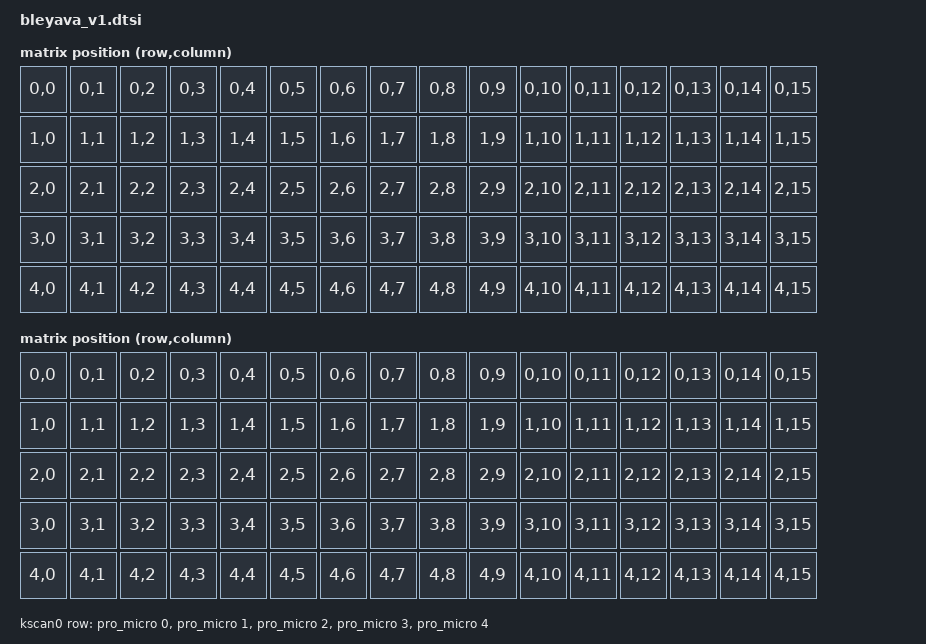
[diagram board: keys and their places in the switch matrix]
/*
 * Copyright (c) 2022 Alexander Jirges
 *
 * SPDX-License-Identifier: MIT
 */

#include <dt-bindings/zmk/matrix-transform.h>

/ {
	chosen {
		zmk,kscan = &kscan0;
		zmk,matrix_transform = &default_transform;
	};

	default_transform: keymap_transform_0 {
		compatible = "zmk,matrix-transform";
		columns = <16>;
		rows = <5>;
// | SW1  | SW2  | SW3  | SW4  | SW5  | SW6  | SW7  | SW33 |   | SW37 | SW41 | SW42 | SW43 | SW44 | SW45 | SW46 | SW47 | SW48 | 
// | SW8  | S98  | SW10 | SW11 | SW12 | SW13 | SW14 | SW34 |   | SW38 | SW49 | SW50 | SW51 | SW52 | SW53 | SW54 | SW55 | SW56 |
// | SW15 | SW16 | SW17 | SW18 | SW19 | SW20 | SW21 | SW35 |   | SW39 | SW57 | SW58 | SW59 | SW60 | SW61 | SW62 | SW63 | SW64 |   
// | SW22 | SW23 | SW24 | SW25 | SW26 | SW27 |      | SW36 |   | SW40 |      | SW65 | SW66 | SW67 | SW68 | SW69 | SW70 | SW71 |
// | SW28 | SW29 | SW30 | SW31 | SW32 |      |      |      |   |      |      |      | SW72 | SW73 | SW74 | SW75 | SW76 | SW77 |
// 5 + 8 = 13 pins used

		map = <
RC(0,0) RC(0,1) RC(0,2) RC(0,3) RC(0,4) RC(0,5) RC(0,6) RC(0,7) RC(0,8) RC(0,9) RC(0,10) RC(0,11) RC(0,12) RC(0,13) RC(0,14) RC(0,15)
RC(1,0) RC(1,1) RC(1,2) RC(1,3) RC(1,4) RC(1,5) RC(1,6) RC(1,7) RC(1,8) RC(1,9) RC(1,10) RC(1,11) RC(1,12) RC(1,13) RC(1,14) RC(1,15)
RC(2,0) RC(2,1) RC(2,2) RC(2,3) RC(2,4) RC(2,5) RC(2,6) RC(2,7) RC(2,8) RC(2,9) RC(2,10) RC(2,11) RC(2,12) RC(2,13) RC(2,14) RC(2,15)
RC(3,0) RC(3,1) RC(3,2) RC(3,3) RC(3,4) RC(3,5) RC(3,6) RC(3,7) RC(3,8) RC(3,9) RC(3,10) RC(3,11) RC(3,12) RC(3,13) RC(3,14) RC(3,15)
RC(4,0) RC(4,1) RC(4,2) RC(4,3) RC(4,4) RC(4,5) RC(4,6) RC(4,7) RC(4,8) RC(4,9) RC(4,10) RC(4,11) RC(4,12) RC(4,13) RC(4,14) RC(4,15)
		>;
	};

	eight_column_transform: keymap_transform_1 {
		compatible = "zmk,matrix-transform";
		columns = <10>;
		rows = <4>;
/ | SW1  | SW2  | SW3  | SW4  | SW5  | SW6  | SW7  | SW33 |   | SW37 | SW41 | SW42 | SW43 | SW44 | SW45 | SW46 | SW47 | SW48 | 
// | SW8  | S98  | SW10 | SW11 | SW12 | SW13 | SW14 | SW34 |   | SW38 | SW49 | SW50 | SW51 | SW52 | SW53 | SW54 | SW55 | SW56 |
// | SW15 | SW16 | SW17 | SW18 | SW19 | SW20 | SW21 | SW35 |   | SW39 | SW57 | SW58 | SW59 | SW60 | SW61 | SW62 | SW63 | SW64 |   
// | SW22 | SW23 | SW24 | SW25 | SW26 | SW27 |      | SW36 |   | SW40 |      | SW65 | SW66 | SW67 | SW68 | SW69 | SW70 | SW71 |
// | SW28 | SW29 | SW30 | SW31 | SW32 |      |      |      |   |      |      |      | SW72 | SW73 | SW74 | SW75 | SW76 | SW77 |
// 5 + 8 = 13 pins used

		map = <
RC(0,0) RC(0,1) RC(0,2) RC(0,3) RC(0,4) RC(0,5) RC(0,6) RC(0,7) RC(0,8) RC(0,9) RC(0,10) RC(0,11) RC(0,12) RC(0,13) RC(0,14) RC(0,15)
RC(1,0) RC(1,1) RC(1,2) RC(1,3) RC(1,4) RC(1,5) RC(1,6) RC(1,7) RC(1,8) RC(1,9) RC(1,10) RC(1,11) RC(1,12) RC(1,13) RC(1,14) RC(1,15)
RC(2,0) RC(2,1) RC(2,2) RC(2,3) RC(2,4) RC(2,5) RC(2,6) RC(2,7) RC(2,8) RC(2,9) RC(2,10) RC(2,11) RC(2,12) RC(2,13) RC(2,14) RC(2,15)
RC(3,0) RC(3,1) RC(3,2) RC(3,3) RC(3,4) RC(3,5) RC(3,6) RC(3,7) RC(3,8) RC(3,9) RC(3,10) RC(3,11) RC(3,12) RC(3,13) RC(3,14) RC(3,15)
RC(4,0) RC(4,1) RC(4,2) RC(4,3) RC(4,4) RC(4,5) RC(4,6) RC(4,7) RC(4,8) RC(4,9) RC(4,10) RC(4,11) RC(4,12) RC(4,13) RC(4,14) RC(4,15)
		>;
	};

	kscan0: kscan {
		compatible = "zmk,kscan-gpio-matrix";
		label = "KSCAN";

		diode-direction = "col2row";
		row-gpios
			= <&pro_micro 0 (GPIO_ACTIVE_HIGH | GPIO_PULL_DOWN)>
			, <&pro_micro 1 (GPIO_ACTIVE_HIGH | GPIO_PULL_DOWN)>
			, <&pro_micro 2 (GPIO_ACTIVE_HIGH | GPIO_PULL_DOWN)>
			, <&pro_micro 3 (GPIO_ACTIVE_HIGH | GPIO_PULL_DOWN)>
			, <&pro_micro 4 (GPIO_ACTIVE_HIGH | GPIO_PULL_DOWN)>
			;
		
	};
};

